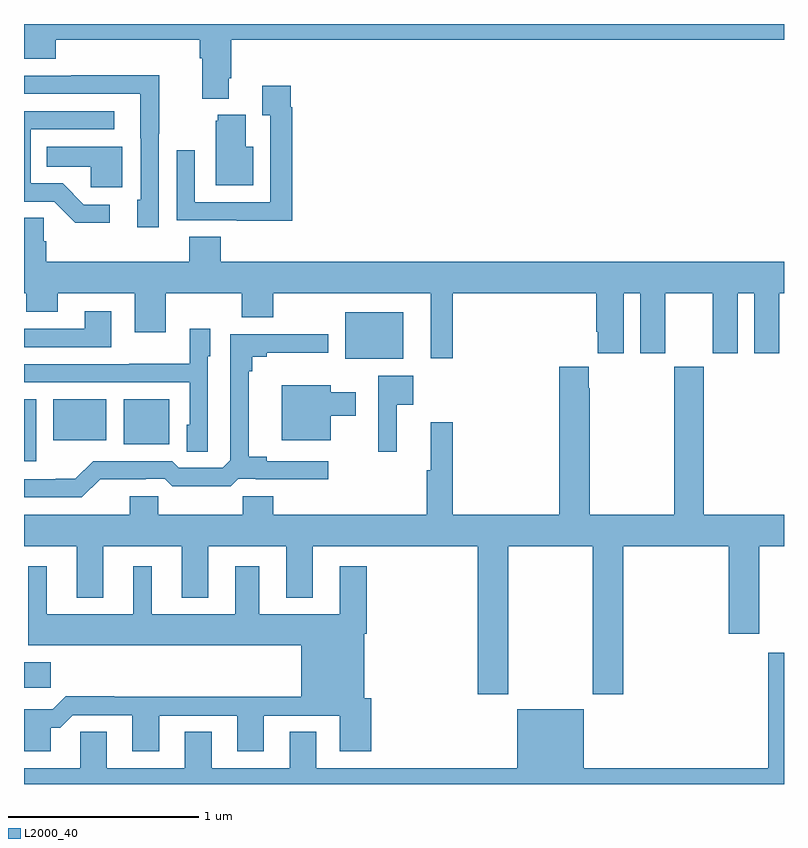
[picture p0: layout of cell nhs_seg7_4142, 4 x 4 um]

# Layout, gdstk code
import gdstk
lib = gdstk.Library(unit=1e-6, precision=1e-09)
def R(c, l, rs):  # rectangles x0, y0, x1, y1
    for r in rs: c.add(gdstk.rectangle(r[:2], r[2:], *l))
def P(c, l, *ps):  # polygons
    for p in ps: c.add(gdstk.Polygon(p, *l))
L2000_40 = (2000, 40)

nhs_seg7_4142 = lib.new_cell('nhs_seg7_4142')
R(nhs_seg7_4142, L2000_40, [(373,1030.507,373.141,1030.642), (373,1031.7,373.065,1032.024), (373.526,1031.789,373.765,1032.025), (373.154,1031.81,373.432,1032.025), (374.69,1032.239,374.995,1032.484)])
P(nhs_seg7_4142, L2000_40, [(374.077,1033.714),(374.09,1033.714),(374.09,1033.916),(377,1033.916),(377,1034),(373,1034),(373,1033.916),(373.001,1033.916),(373.001,1033.817),(373.166,1033.817),(373.166,1033.916),(373.925,1033.916),(373.925,1033.82),(373.937,1033.82),(373.937,1033.607),(374.077,1033.607)],
  [(373.71,1033.423),(373.713,1033.423),(373.713,1033.73),(373.249,1033.73),(373.249,1033.728),(373,1033.728),(373,1033.632),(373.613,1033.632),(373.613,1033.399),(373.614,1033.399),(373.614,1033.074),(373.595,1033.074),(373.595,1032.93),(373.71,1032.93)],
  [(374.411,1033.562),(374.404,1033.562),(374.404,1033.675),(374.255,1033.675),(374.255,1033.519),(374.295,1033.519),(374.295,1033.062),(373.899,1033.062),(373.899,1033.336),(373.803,1033.336),(373.803,1032.966),(374.119,1032.966),(374.119,1032.965),(374.411,1032.965)],
  [(373.45,1033.05),(373.315,1033.05),(373.204,1033.161),(373.035,1033.161),(373.035,1033.446),(373.474,1033.446),(373.474,1033.542),(373,1033.542),(373,1033.065),(373.158,1033.065),(373.271,1032.953),(373.45,1032.953)],
  [(374.206,1033.354),(374.167,1033.354),(374.167,1033.522),(374.021,1033.522),(374.021,1033.491),(374.009,1033.491),(374.009,1033.151),(374.206,1033.151)],
  [(373.516,1033.354),(373.12,1033.354),(373.12,1033.25),(373.351,1033.25),(373.351,1033.142),(373.516,1033.142)],
  [(375.257,1032.584),(376.013,1032.584),(376.013,1032.379),(376.019,1032.379),(376.019,1032.267),(376.156,1032.267),(376.156,1032.584),(376.244,1032.584),(376.244,1032.267),(376.375,1032.267),(376.375,1032.584),(376.625,1032.584),(376.625,1032.267),(376.756,1032.267),(376.756,1032.584),(376.844,1032.584),(376.844,1032.267),(376.975,1032.267),(376.975,1032.584),(377,1032.584),(377,1032.748),(374.036,1032.748),(374.036,1032.881),(373.871,1032.881),(373.871,1032.748),(373.118,1032.748),(373.118,1032.857),(373.104,1032.857),(373.104,1032.98),(373,1032.98),(373,1032.584),(373.013,1032.584),(373.013,1032.485),(373.177,1032.485),(373.177,1032.584),(373.583,1032.584),(373.583,1032.378),(373.747,1032.378),(373.747,1032.584),(374.147,1032.584),(374.147,1032.456),(374.311,1032.456),(374.311,1032.584),(375.14,1032.584),(375.14,1032.24),(375.257,1032.24)],
  [(373.459,1032.487),(373.319,1032.487),(373.319,1032.396),(373,1032.396),(373,1032.3),(373.459,1032.3)],
  [(373.968,1032.252),(373.981,1032.252),(373.981,1032.397),(373.872,1032.397),(373.872,1032.211),(373.555,1032.211),(373.555,1032.21),(373,1032.21),(373,1032.114),(373.872,1032.114),(373.872,1031.892),(373.856,1031.892),(373.856,1031.749),(373.968,1031.749)],
  [(373.4,1031.603),(373.64,1031.603),(373.64,1031.607),(373.74,1031.607),(373.78,1031.568),(374.087,1031.568),(374.127,1031.607),(374.221,1031.607),(374.221,1031.603),(374.602,1031.603),(374.602,1031.7),(374.278,1031.7),(374.278,1031.723),(374.182,1031.723),(374.182,1032.173),(374.201,1032.173),(374.201,1032.25),(374.278,1032.25),(374.278,1032.269),(374.602,1032.269),(374.602,1032.366),(374.085,1032.366),(374.085,1031.703),(374.046,1031.664),(373.815,1031.664),(373.779,1031.7),(373.365,1031.7),(373.271,1031.606),(373.166,1031.606),(373.166,1031.604),(373,1031.604),(373,1031.508),(373.305,1031.508)],
  [(375.549,1031.252),(375.994,1031.252),(375.994,1030.473),(376.154,1030.473),(376.154,1031.252),(376.709,1031.252),(376.709,1030.791),(376.869,1030.791),(376.869,1031.252),(377,1031.252),(377,1031.416),(376.578,1031.416),(376.578,1032.196),(376.423,1032.196),(376.423,1031.416),(375.978,1031.416),(375.978,1032.083),(375.973,1032.083),(375.973,1032.196),(375.818,1032.196),(375.818,1031.416),(375.257,1031.416),(375.257,1031.905),(375.14,1031.905),(375.14,1031.652),(375.121,1031.652),(375.121,1031.416),(374.312,1031.416),(374.312,1031.514),(374.152,1031.514),(374.152,1031.416),(373.707,1031.416),(373.707,1031.514),(373.556,1031.514),(373.556,1031.416),(373,1031.416),(373,1031.252),(373.277,1031.252),(373.277,1030.979),(373.417,1030.979),(373.417,1031.252),(373.829,1031.252),(373.829,1030.979),(373.969,1030.979),(373.969,1031.252),(374.381,1031.252),(374.381,1030.979),(374.521,1030.979),(374.521,1031.252),(375.389,1031.252),(375.389,1030.473),(375.549,1030.473)],
  [(374.963,1031.996),(375.049,1031.996),(375.049,1032.148),(374.865,1032.148),(374.865,1031.748),(374.963,1031.748)],
  [(374.614,1031.939),(374.746,1031.939),(374.746,1032.061),(374.614,1032.061),(374.614,1032.1),(374.357,1032.1),(374.357,1031.81),(374.614,1031.81)],
  [(373.141,1030.295),(373.19,1030.295),(373.257,1030.362),(373.571,1030.362),(373.571,1030.173),(373.711,1030.173),(373.711,1030.359),(374.123,1030.359),(374.123,1030.173),(374.263,1030.173),(374.263,1030.359),(374.663,1030.359),(374.663,1030.173),(374.828,1030.173),(374.828,1030.452),(374.791,1030.452),(374.791,1030.79),(374.804,1030.79),(374.804,1031.146),(374.663,1031.146),(374.663,1030.894),(374.239,1030.894),(374.239,1031.146),(374.111,1031.146),(374.111,1030.894),(373.672,1030.894),(373.672,1031.146),(373.574,1031.146),(373.574,1030.894),(373.12,1030.894),(373.12,1031.146),(373.022,1031.146),(373.022,1030.73),(374.459,1030.73),(374.459,1030.46),(373.475,1030.46),(373.475,1030.463),(373.22,1030.463),(373.15,1030.393),(373.001,1030.393),(373.001,1030.173),(373.141,1030.173)],
  [(377,1030.69),(376.916,1030.69),(376.916,1030.084),(375.946,1030.084),(375.946,1030.393),(375.596,1030.393),(375.596,1030.084),(374.539,1030.084),(374.539,1030.274),(374.399,1030.274),(374.399,1030.084),(373.987,1030.084),(373.987,1030.274),(373.847,1030.274),(373.847,1030.084),(373.435,1030.084),(373.435,1030.274),(373.296,1030.274),(373.296,1030.084),(373,1030.084),(373,1030),(377,1030)])

lib.write_gds('nhs_seg7_4142.gds')
